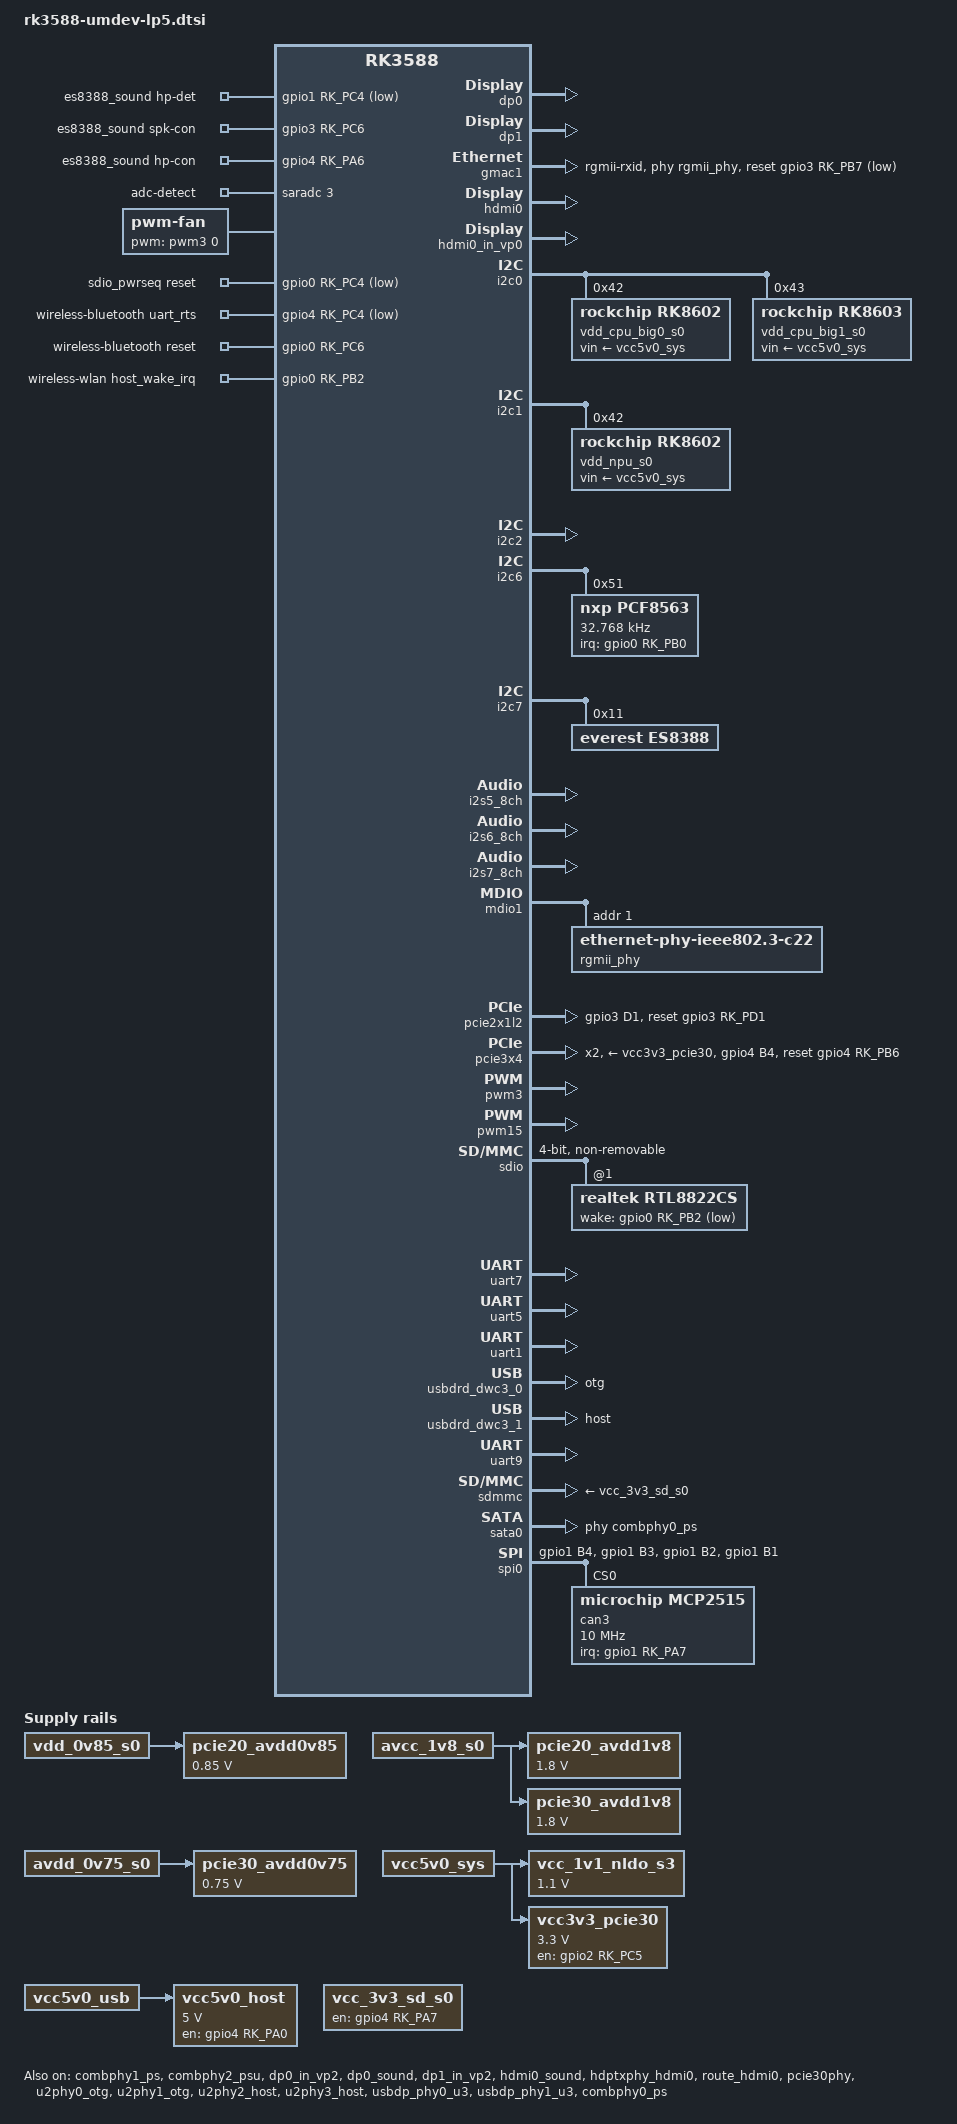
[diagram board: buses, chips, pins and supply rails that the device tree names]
// SPDX-License-Identifier: (GPL-2.0+ OR MIT)
/*
 * Copyright (c) 2021 Rockchip Electronics Co., Ltd.
 *
 */

#include "dt-bindings/usb/pd.h"
#include "dt-bindings/phy/phy.h"
#include "rk3588.dtsi"
#include "rk3588-evb.dtsi"
#include "rk3588-rk806-single-umlhp.dtsi"

/ {
	es8388_sound: es8388-sound {
		status = "okay";
		compatible = "rockchip,multicodecs-card";
		rockchip,card-name = "rockchip-es8388";
		hp-det-gpio = <&gpio1 RK_PC4 GPIO_ACTIVE_LOW>;  // GPIO1_D5_d HP_DET_L
		io-channels = <&saradc 3>;
		io-channel-names = "adc-detect";
		keyup-threshold-microvolt = <1800000>;
		poll-interval = <250>;
		spk-con-gpio = <&gpio3 RK_PC6 GPIO_ACTIVE_HIGH>;  // GPIO1_D3_d SPK_CTL_H
		hp-con-gpio = <&gpio4 RK_PA6 GPIO_ACTIVE_HIGH>;   // GPIO1_D2_d PHONE_CTL
		rockchip,format = "i2s";
		rockchip,mclk-fs = <256>;
		rockchip,cpu = <&i2s0_8ch>;
		rockchip,codec = <&es8388>;
		rockchip,audio-routing =
			"Headphone", "LOUT1",
			"Headphone", "ROUT1",
			"Speaker", "LOUT2",
			"Speaker", "ROUT2",
			"Headphone", "Headphone Power",
			"Headphone", "Headphone Power",
			"Speaker", "Speaker Power",
			"Speaker", "Speaker Power",
			"LINPUT1", "Headset Mic",
			"RINPUT1", "Headset Mic";
		//	"LINPUT2", "Headset Mic",
		//	"RINPUT2", "Headset Mic";
		pinctrl-names = "default";
		pinctrl-0 = <&hp_det>;
		play-pause-key {
			label = "playpause";
			linux,code = <KEY_PLAYPAUSE>;
			press-threshold-microvolt = <2000>;
		};
	};

	fan: pwm-fan {
		compatible = "pwm-fan";
		#cooling-cells = <2>;
		pwms = <&pwm3 0 50000 0>;
		cooling-levels = <0 50 100 150 200 255>;
		rockchip,temp-trips = <
			50000	1
			55000	2
			60000	3
			65000	4
			70000	5
		>;
	};

	pcie20_avdd0v85: pcie20-avdd0v85 {
		compatible = "regulator-fixed";
		regulator-name = "pcie20_avdd0v85";
		regulator-boot-on;
		regulator-always-on;
		regulator-min-microvolt = <850000>;
		regulator-max-microvolt = <850000>;
		vin-supply = <&vdd_0v85_s0>;
	};

	pcie20_avdd1v8: pcie20-avdd1v8 {
		compatible = "regulator-fixed";
		regulator-name = "pcie20_avdd1v8";
		regulator-boot-on;
		regulator-always-on;
		regulator-min-microvolt = <1800000>;
		regulator-max-microvolt = <1800000>;
		vin-supply = <&avcc_1v8_s0>;
	};

	pcie30_avdd0v75: pcie30-avdd0v75 {
		compatible = "regulator-fixed";
		regulator-name = "pcie30_avdd0v75";
		regulator-boot-on;
		regulator-always-on;
		regulator-min-microvolt = <750000>;
		regulator-max-microvolt = <750000>;
		vin-supply = <&avdd_0v75_s0>;
	};

	pcie30_avdd1v8: pcie30-avdd1v8 {
		compatible = "regulator-fixed";
		regulator-name = "pcie30_avdd1v8";
		regulator-boot-on;
		regulator-always-on;
		regulator-min-microvolt = <1800000>;
		regulator-max-microvolt = <1800000>;
		vin-supply = <&avcc_1v8_s0>;
	};

	/* SDIO接口Wi-Fi专用配置：WIFI_REG_ON: Wi-Fi的电源使能PIN脚 */
	sdio_pwrseq: sdio-pwrseq {
		compatible = "mmc-pwrseq-simple";
		pinctrl-names = "default";
		pinctrl-0 = <&wifi_enable_h>;
		/* 特别注意：WIFI_REG_ON GPIO_ACTIVE 配置跟使能状态恰好是相反的，
		 * 高有效为LOW，低有效则为HIGH
	 	 * 切记：这个配置跟下面的WIFI,poweren_gpio是互斥的，不能同时配置！！！
		 */
		reset-gpios = <&gpio0 RK_PC4 GPIO_ACTIVE_LOW>;
	};

	vcc_1v1_nldo_s3: vcc-1v1-nldo-s3 {
		compatible = "regulator-fixed";
		regulator-name = "vcc_1v1_nldo_s3";
		regulator-always-on;
		regulator-boot-on;
		regulator-min-microvolt = <1100000>;
		regulator-max-microvolt = <1100000>;
		vin-supply = <&vcc5v0_sys>;
	};

	vcc_3v3_sd_s0: vcc-3v3-sd-s0-regulator {
		compatible = "regulator-fixed";
		gpio = <&gpio4 RK_PA7 GPIO_ACTIVE_HIGH>;
		pinctrl-names = "default";
		pinctrl-0 = <&sd_s0_pwr>;
		regulator-name = "vcc_3v3_sd_s0";
		enable-active-high;
	};

	vcc3v3_pcie30: vcc3v3-pcie30 {
		compatible = "regulator-fixed";
		regulator-name = "vcc3v3_pcie30";
		regulator-min-microvolt = <3300000>;
		regulator-max-microvolt = <3300000>;
		enable-active-high;
		gpios = <&gpio2 RK_PC5 GPIO_ACTIVE_HIGH>;
		startup-delay-us = <5000>;
		vin-supply = <&vcc5v0_sys>;
	};

	vcc5v0_host: vcc5v0-host {
		compatible = "regulator-fixed";
		regulator-name = "vcc5v0_host";
		regulator-boot-on;
		regulator-always-on;
		regulator-min-microvolt = <5000000>;
		regulator-max-microvolt = <5000000>;
		enable-active-high;
		gpio = <&gpio4 RK_PA0 GPIO_ACTIVE_HIGH>;
		vin-supply = <&vcc5v0_usb>;
		pinctrl-names = "default";
		pinctrl-0 = <&vcc5v0_host_en>;
	};

	/* 蓝牙节点 */
	/* 注意下面关于UART的配置：uart4_xfer/uart4_rts/uart4_ctsn
	 * 每个平台的名字可能不一样，要在对应芯片平台的dts/dtsi里面找下对
	 * 应的uart写法，比如uart4_ctsn有些平台的名字为uart4_cts.
	 */
	wireless-bluetooth {
		compatible = "bluetooth-platdata";

		/* 这里要配置对应主控UART的RTS脚 */
		uart_rts_gpios = <&gpio4 RK_PC4 GPIO_ACTIVE_LOW>;	//GPIO3_A4_d UART8_RTSn_M1_BT
		pinctrl-names = "default", "rts_gpio";
		pinctrl-0 = <&uart9m0_rtsn>;
		pinctrl-1 = <&uart9m0_rtsn_gpio>;
		
		/* BT_REG_ON 蓝牙电源的开关 */
		BT,reset_gpio = <&gpio0 RK_PC6 GPIO_ACTIVE_HIGH>;	//GPIO3_A6_d BT_REG_ON_H

		/* Linux平台：下面两个配置无需配置 */
		// BT,wake_gpio     = <&gpio0 RK_PC5 GPIO_ACTIVE_HIGH>;	//GPIO3_A1_u HOST_WAKE_BT_H  有可能跟下面IO要对调
		// BT,wake_host_irq = <&gpio0 RK_PA0 GPIO_ACTIVE_HIGH>;	//GPIO3_A0_u BT_WAKE_HOST_H
		status = "okay";
	};

	/* Wi-Fi节点 */
	wireless-wlan {
		compatible = "wlan-platdata";
		rockchip,grf = <&sys_grf>;
		/* 注意：如果排查发现Wi-Fi模块没有32.768K波形，且硬件上是有
		 * RK PMU供给的，则打开下面的clock属性，按照实际使用的PMU型号填写，
		 * 否在SDIO/Wi-Fi无法使用.
		 * clocks = <&rk809 1>; //如果使用RK809，  只能配置一个
		 * clocks = <&hym8563>; //如果使用hym8563，只能配置一个
		 * clock-names = "ext_clock";
		*/
		clocks = <&pcf8563>;
		clock-names = "ext_clock";

		/* 按实际名字填写 */	
		wifi_chip_type = "rtl8822cs";

		/* WIFI_WAKE_HOST: Wi-Fi中断通知主控的PIN脚。
		* 特别注意：确认下这个Wi-Fi pin脚跟主控的pin的
		* 硬件连接关系，直连的话就是GPIO_ACTIVE_HIGH;
		* 如果中间加了一个反向管就要改成低电平GPIO_ACTIVE_LOW触发
		*/
		// pinctrl-names = "default";
		// pinctrl-0 = <&wifi_host_wake_irq>;
		WIFI,host_wake_irq = <&gpio0 RK_PB2 GPIO_ACTIVE_HIGH>;		//GPIO3_A7_u WIFI_WAKE_HOST_H
		
		/* 注意USB/PCIE接口的Wi-Fi需要添加此配置，对应Wi-Fi使能脚,
		 * 且不需要配置sdio_pwrseq/sdio等节点！
		 * SDIO接口WiFi不需要添加这个配置！除非有动态加卸载KO的需求参考11.8章节；
		 */
		status = "okay";
	};

	/* SPI CAN 时钟源定义 */
	mcp2515_CLK: mcp2515-CLK {
	    compatible = "fixed-clock";
	    #clock-cells = <0>;
	    clock-frequency = <8000000>;
	};
};

&combphy1_ps {
	status = "okay";
};

&combphy2_psu {
	status = "okay";
};

&dp0 {
	status = "okay";
};

&dp0_in_vp2 {
	status = "okay";
};

&dp0_sound{
	status = "okay";
};

&dp1 {
	pinctrl-names = "default";
	pinctrl-0 = <&dp1m0_pins>;
	status = "okay";
};

&dp1_in_vp2 {
	status = "okay";
};

/* gmac1: gmac1网口 */
&gmac1 {
	/* Use rgmii-rxid mode to disable rx delay inside Soc */
	phy-mode = "rgmii-rxid";
	clock_in_out = "output";

	snps,reset-gpio = <&gpio3 RK_PB7 GPIO_ACTIVE_LOW>;
	snps,reset-active-low;
	/* Reset time is 20ms, 100ms for rtl8211f */
	snps,reset-delays-us = <0 20000 100000>;

	pinctrl-names = "default";
	pinctrl-0 = <&gmac1_miim
			&gmac1_tx_bus2
			&gmac1_rx_bus2
			//&gmac1_clkinout
			&gmac1_rgmii_clk
			&gmac1_rgmii_bus>;

	tx_delay = <0x43>;
	/* rx_delay = <0x3f>; */

	phy-handle = <&rgmii_phy>;
	status = "okay";
};

// 打开 hdmi0 功能
&hdmi0 {
    status = "okay";
    enable-gpios = <&gpio4 RK_PA1 GPIO_ACTIVE_HIGH>;
    // ddc-i2c-bus = <&hdmi>; // ！！！注释或删除这行！！！
    pinctrl-names = "default";
    pinctrl-0 = <&hdmim0_tx0_cec &hdmim0_tx0_hpd &hdmim0_tx0_scl &hdmim0_tx0_sda>;
};

// 把 hdmi0 的显示接口连接在 Port0
&hdmi0_in_vp0 {
	status = "okay";
};

// 打开 hdmi0 音频输出
&hdmi0_sound {
	status = "okay";
};

// 打开 hdmi0 的硬件 phy
&hdptxphy_hdmi0 {
	status = "okay";
};

// 打开 hdmi0 的开机 logo
&route_hdmi0 {
	status = "okay";
};

/* I2C0_M2:CPU */
&i2c0 {
	status = "okay";
	pinctrl-names = "default";
	pinctrl-0 = <&i2c0m2_xfer>;

	vdd_cpu_big0_s0: vdd_cpu_big0_mem_s0: rk8602@42 {
		compatible = "rockchip,rk8602";
		reg = <0x42>;
		vin-supply = <&vcc5v0_sys>;
		regulator-compatible = "rk860x-reg";
		regulator-name = "vdd_cpu_big0_s0";
		regulator-min-microvolt = <550000>;
		regulator-max-microvolt = <1050000>;
		regulator-ramp-delay = <2300>;
		rockchip,suspend-voltage-selector = <1>;
		regulator-boot-on;
		regulator-always-on;
		regulator-state-mem {
			regulator-off-in-suspend;
		};
	};

	vdd_cpu_big1_s0: vdd_cpu_big1_mem_s0: rk8603@43 {
		compatible = "rockchip,rk8603";
		reg = <0x43>;
		vin-supply = <&vcc5v0_sys>;
		regulator-compatible = "rk860x-reg";
		regulator-name = "vdd_cpu_big1_s0";
		regulator-min-microvolt = <550000>;
		regulator-max-microvolt = <1050000>;
		regulator-ramp-delay = <2300>;
		rockchip,suspend-voltage-selector = <1>;
		regulator-boot-on;
		regulator-always-on;
		regulator-state-mem {
			regulator-off-in-suspend;
		};
	};
};

&i2c1 {
	status = "okay";
	pinctrl-names = "default";
	pinctrl-0 = <&i2c1m2_xfer>;
	/* NPU_RK860 */
	vdd_npu_s0: vdd_npu_mem_s0: rk8602@42 {
		compatible = "rockchip,rk8602";
		reg = <0x42>;
		vin-supply = <&vcc5v0_sys>;
		regulator-compatible = "rk860x-reg";
		regulator-name = "vdd_npu_s0";
		regulator-min-microvolt = <550000>;
		regulator-max-microvolt = <950000>;
		regulator-ramp-delay = <2300>;
		rockchip,suspend-voltage-selector = <1>;
		regulator-boot-on;
		regulator-always-on;
		regulator-state-mem {
			regulator-off-in-suspend;
		};
	};
};

&i2c2 {
	status = "okay";
	pinctrl-names = "default";
	pinctrl-0 = <&i2c2m0_xfer>;
};

/* I2C6_M0: RTC */
&i2c6 {
	status = "okay";
	pinctrl-names = "default";
	pinctrl-0 = <&i2c6m0_xfer>;
	
	/* RTC_PCF8563 */
	pcf8563: pcf8563@51 {
		compatible = "nxp,pcf8563";
		reg = <0x51>;
		#clock-cells = <0>;
		clock-frequency = <32768>;
		clock-output-names = "pcf8563";
		pinctrl-names = "default";
		pinctrl-0 = <&pcf8563_int>;
		interrupt-parent = <&gpio0>;
		interrupts = <RK_PB0 IRQ_TYPE_LEVEL_LOW>;  /* GPIO0_B0 RTC_INT_L */
		wakeup-source;
	};
};

/* I2C7_M0: ES8388 */
&i2c7 {
	status = "okay";
	es8388: es8388@11 {
		status = "okay";
		#sound-dai-cells = <0>;
		compatible = "everest,es8388", "everest,es8323";
		reg = <0x11>;
		clocks = <&mclkout_i2s0>;
		clock-names = "mclk";
		assigned-clocks = <&mclkout_i2s0>;
		assigned-clock-rates = <12288000>;
		pinctrl-names = "default";
		pinctrl-0 = <&i2s0_mclk>;
	};
};

&i2s1_8ch {
	status = "disabled";
	#sound-dai-cells = <0>;
	rockchip,clk-trcm = <2>;
	pinctrl-names = "default";
	pinctrl-0 = <&i2s1m0_lrck
			&i2s1m0_sclk
			&i2s1m0_sdi1
			&i2s1m0_sdi2
			&i2s1m0_sdi3>;
};

&i2s5_8ch {
	status = "okay";
};

&i2s6_8ch {
	status = "okay";
};

&i2s7_8ch {
	status = "okay";
};

&mdio1 {
	rgmii_phy: phy@1 {
		compatible = "ethernet-phy-ieee802.3-c22";
		reg = <0x1>;
	};
};

&pcie2x1l2 {
	reset-gpios = <&gpio3 RK_PD1 GPIO_ACTIVE_HIGH>;
	pinctrl-names = "default";
	pinctrl-0 = <&rtl8111_isolate>;
	status = "okay";
};

&pcie30phy {
	rockchip,pcie30-phymode = <PHY_MODE_PCIE_NANBNB>; // 改为 NANBNB 模式
	status = "okay";
};

&pcie3x4 {
	num-lanes = <2>;	
	reset-gpios = <&gpio4 RK_PB6 GPIO_ACTIVE_HIGH>; // 请再次确认极性和引脚
	vpcie3v3-supply = <&vcc3v3_pcie30>;
	pinctrl-names = "default";  // 先注释掉
	pinctrl-0 = <&pcie30x4_clkreqn_m1>; // 先注释掉
	status = "okay";
};

&pinctrl {
	headphone {
		hp_det: hp-det {
			rockchip,pins = <1 RK_PC4 RK_FUNC_GPIO &pcfg_pull_none>;
		};
	};

	pcf8563 {
		pcf8563_int: pcf8563-int {
			rockchip,pins = <0 RK_PB0 RK_FUNC_GPIO &pcfg_pull_up>;
		};
	};
	
	rtl8111 {
		rtl8111_isolate: rtl8111-isolate {
			rockchip,pins = <3 RK_PD1 RK_FUNC_GPIO &pcfg_pull_up>;
		};
	};
	
	minipcie {
		minipcie_isolate: minipcie-isolate {
			rockchip,pins = <4 RK_PA5 RK_FUNC_GPIO &pcfg_pull_up>;
		};
	};	

	/* SDIO接口Wi-Fi专用配置：WIFI_REG_ON脚的pinctrl的配置 */
	sdio-pwrseq {
		wifi_enable_h: wifi-enable-h {
			/* 对应上面的WIFI_REG_ON，关掉上下拉，防止不能拉高或拉低 */
			rockchip,pins = <0 RK_PC4 RK_FUNC_GPIO &pcfg_pull_none>;
		};
	};

	/* uart9_rts_gpio */
	wireless-bluetooth {
		uart9m0_rtsn_gpio: uart9m0-rtsn-gpio {
			rockchip,pins = <4 RK_PC4 RK_FUNC_GPIO &pcfg_pull_none>;
		};
	};

	/* WIFI_WAKE_HOST脚的pinctrl的配置 */
	wireless-wlan {
		/omit-if-no-ref/
		wifi_wake_host: wifi-wake-host {
		/* 注意一般Wi-Fi的wake host pin都是高电平触发，
		 * 所以默认这里要配置为下拉; 如果客户的硬件设计
		 * 是反向的则要改为上拉，总之要初始化为与触发电平
		 * 相反的状态
		 */
		rockchip,pins = <0 RK_PB2 RK_FUNC_GPIO &pcfg_pull_down>;
		};
	};

	pcie30x4 {
		pcie30x4_clkreqn_m1: pcie30x4-clkreqn-m1 {
			rockchip,pins = <4 RK_PB4 RK_FUNC_GPIO &pcfg_pull_down>;
		};
	};

	sdmmc {
		sd_s0_pwr: sd-s0-pwr {
			rockchip,pins = <4 RK_PA7 RK_FUNC_GPIO &pcfg_pull_up>;
		};
	};

	usb {
		vcc5v0_host_en: vcc5v0-host-en {
			rockchip,pins = <4 RK_PA0 RK_FUNC_GPIO &pcfg_pull_none>;
		};
	};

    /* 添加SPI0引脚配置（如果不存在的话） */
	spi0 {
		spi0m2_pins: spi0m2-pins {
			rockchip,pins =
				/* SCK, MOSI, MISO */
				<1 RK_PB3 2 &pcfg_pull_up>,   /* spi0m2_clk */
				<1 RK_PB2 2 &pcfg_pull_up>,   /* spi0m2_mosi */
				<1 RK_PB1 2 &pcfg_pull_up>;  /* spi0m2_miso */
		};
 
		spi0m2_cs0: spi0m2-cs0 {
			rockchip,pins =
				<1 RK_PB4 2 &pcfg_pull_up>;   /* spi0m2_cs0 */
		};
	};
    
    /* 添加CAN中断引脚配置 */
	can {
		mcp2515_int: mcp2515-int {
			rockchip,pins = <1 RK_PA7 RK_FUNC_GPIO &pcfg_pull_up>;
		};
	};
};

&pwm3 {
	pinctrl-names = "default";
	pinctrl-0 = <&pwm3m1_pins>;
	status = "okay";
};

&pwm15 {
	compatible = "rockchip,remotectl-pwm";
	pinctrl-names = "default";
	pinctrl-0 = <&pwm15m1_pins>;
	remote_pwm_id = <15>;
	handle_cpu_id = <1>;
	remote_support_psci = <0>;
	status = "okay";
	
	ir_key1 {
		rockchip,usercode = <0x4040>;
		rockchip,key_table =
			<0xf2	KEY_REPLY>,
			<0xba	KEY_BACK>,
			<0xf4	KEY_UP>,
			<0xf1	KEY_DOWN>,
			<0xef	KEY_LEFT>,
			<0xee	KEY_RIGHT>,
			<0xbd	KEY_HOME>,
			<0xea	KEY_VOLUMEUP>,
			<0xe3	KEY_VOLUMEDOWN>,
			<0xe2	KEY_SEARCH>,
			<0xb2	KEY_POWER>,
			<0xbc	KEY_MUTE>,
			<0xec	KEY_MENU>,
			<0xbf	0x190>,
			<0xe0	0x191>,
			<0xe1	0x192>,
			<0xe9	183>,
			<0xe6	248>,
			<0xe8	185>,
			<0xe7	186>,
			<0xf0	388>,
			<0xbe	0x175>;
	};
};

/* SDIO接口Wi-Fi专用配置：SDIO接口节点 */
&sdio {
	status = "okay";
	max-frequency = <150000000>;	/* sdio接口的最大频率,可调整 */
 //	no-sd;
 //	no-mmc;
 //	disable-wp;
    #address-cells = <1>;
    #size-cells = <0>;
    bus-width = <4>;	/* 4线模式，可调整1线模式 */
    cap-sd-highspeed;
    cap-sdio-irq;
    keep-power-in-suspend;
    non-removable;
    mmc-pwrseq = <&sdio_pwrseq>;
    pinctrl-names = "default";
    pinctrl-0 = <&sdiom0_pins>;

    rtl8822cs: wifi@1 {
        compatible = "realtek,rtl8822cs";
        reg = <1>;
     // interrupt-parent = <&gpio0>;
     // interrupts = <RK_PB2 IRQ_TYPE_LEVEL_LOW>; /* 示例 GPIO，需核对原理图 */
        pinctrl-names = "default";
        pinctrl-0 = <&wifi_wake_host>;
        wake-gpios = <&gpio0 RK_PB2 GPIO_ACTIVE_LOW>; /* 唤醒 GPIO */
    };
};

&uart7 {
	status = "okay";
	pinctrl-names = "default";
	pinctrl-0 = <&uart7m1_xfer>;
};

&uart5 {
	status = "okay";
	pinctrl-names = "default";
	pinctrl-0 = <&uart5m1_xfer>;
};

&uart1 {
	status = "okay";
	pinctrl-names = "default";
	pinctrl-0 = <&uart1m1_xfer>;
};

&uart0 {
	status = "disabled";
	pinctrl-names = "default";
	pinctrl-0 = <&uart0m0_xfer>;
};

/* 1. 首先查看 u2phy0 的配置 - 保持原样，只修改速度 */
&u2phy0_otg {
	status = "okay";
	/* 添加 vbus 电源 */
	vbus-supply = <&vcc5v0_host>;
	/* 修复模式配置 */
	rockchip,usb-mode = "otg";
};

/* 2. u2phy1_otg - 确保有电源供应 */
&u2phy1_otg {
	/* 取消注释，添加电源 */
	phy-supply = <&vcc5v0_host>;
	/* 添加模式配置 */
	rockchip,usb-mode = "host";
	status = "okay";
};

/* 3. u2phy2_host - 确保配置完整 */
&u2phy2_host {
	phy-supply = <&vcc5v0_host>;
	/* 添加模式配置 */
	rockchip,usb-mode = "host";
	/* 添加电源延迟确保稳定 */
	phy-supply-delay-us = <20000>;
	status = "okay";
};

/* 4. u2phy3_host - 这是有问题的 PHY，修复配置 */
&u2phy3_host {
    status = "okay";
    /* 关键修复：指定正确的模式。对于主机端口，通常是 "host" */
    phy-mode = "host";
    /* 或者，如果硬件是 OTG 端口但被用作主机，尝试： */
    /* phy-mode = "otg"; */
    /* 确保电源配置正确 */
    phy-supply = <&vcc5v0_host>;
    vbus-supply = <&vcc5v0_host>;
};

/* 5. 修复 USB3.0 PHY 速度限制 */
&usbdp_phy0_u3 {
	status = "okay";
	/* 修复：改为 USB3.0 速度 */
	maximum-speed = "super-speed";
};

/* 6. 修复 USB3.0 PHY 1 配置 */
&usbdp_phy1_u3 {
	status = "okay";
	/* 修复：改为 USB3.0 速度 */
	maximum-speed = "super-speed";
};

/* 7. 修复 USB3.0 控制器 0 配置 */
&usbdrd_dwc3_0 {
	dr_mode = "otg";
	/* 修复：改为 USB3.0 速度 */
	maximum-speed = "super-speed";
	status = "okay";
	
	/* 可选优化：添加性能参数 */
	snps,usb3_lpm_capable;
	snps,dis_u2_susphy_quirk;
	snps,dis-del-phy-power-chg-quirk;
};

/* 8. 修复 USB3.0 控制器 1 配置 */
&usbdrd_dwc3_1 {
	dr_mode = "host";
	/* 修复：改为 USB3.0 速度 */
	maximum-speed = "super-speed";
	status = "okay";
	
	/* 可选优化：添加性能参数 */
	snps,usb3_lpm_capable;
	snps,dis_u2_susphy_quirk;
	snps,dis-del-phy-power-chg-quirk;
};

/* =================== USB 配置结束 =================== */

/* 打开对应的UART配置 */
&uart9 {
	pinctrl-names = "default";
	/* 这里配置对应主控UART的TX/RX/CTS PIN，不要配置RTS PIN */
	pinctrl-0 = <&uart9m0_xfer &uart9m0_ctsn>;
	status = "okay";
};

&sdmmc {
	status = "okay";
	vmmc-supply = <&vcc_3v3_sd_s0>;
};

/* 3. 启用 SATA 控制器 - 完整配置 */
// 禁用 PCIe 控制器（释放引脚给SATA用）
&pcie2x1l0 {
	status = "disabled"; // 确保此项为 disabled
};

&combphy0_ps {
	status = "okay";
	/* 核心修复：明确指定PHY为SATA工作模式 */
	// Rockchip PHY_TYPE_SATA 的值为 0x03
	mode = <0x03>;
	/* 电源配置 */
	phy-supply = <&vcc3v3_pcie30>;
	/* 必要的属性 */
	#phy-cells = <1>;
};

&sata0 {
	status = "okay";
	/* 引用配置为SATA模式的PHY */
	phys = <&combphy0_ps PHY_TYPE_SATA>;
	phy-names = "sata-phy";
	/* 配置电源，防止使用虚拟调节器 */
	sata-supply = <&vcc3v3_pcie30>;
	ahci-supply = <&vcc3v3_pcie30>;
	/* 关键：配置使能/复位GPIO (根据原理图，通常是GPIO4_A5) */
	enable-gpios = <&gpio4 RK_PA5 GPIO_ACTIVE_HIGH>;
	// 如果高电平无效，可尝试反极性：GPIO_ACTIVE_LOW
	/* 可选：调低初始链接速度以增加稳定性 */
	max-link-speed = <1>; // 1 = Gen1 (1.5 Gbps)
};

&can0 {
    status = "disabled";  /* 如果不用内置CAN0 */
};

&can1 {
    status = "disabled";  /* 如果不用内置CAN1 */
};

/* 配置 SPI 总线 */
&spi0 {
	status = "okay";
 
	/* 使用正确的pinctrl名称 */
	pinctrl-names = "default";
	pinctrl-0 = <&spi0m2_cs0 &spi0m2_pins>;
	max-frequency = <10000000>;      /* SPI时钟频率 */
    
	/* 添加MCP2515设备 */
	can3: can-controller@0 {
    	compatible = "microchip,mcp2515";
    	reg = <0>;  /* CS0 */
        
        /* 使用正确的时钟，通常是24MHz时钟 */
        clocks = <&mcp2515_CLK>;

		/* 中断配置 - 需要根据实际连接修改 */
    	interrupt-parent = <&gpio1>;
    		interrupts = <RK_PA7 IRQ_TYPE_EDGE_FALLING>;  /* 修正语法 */
    	spi-max-frequency = <10000000>;  /* 最大10MHz，根据实际情况调整 */
    	spi-cpha = <0>;
		spi-cpol = <0>;

		/* MCP2515 特定配置 */
		oscillator-frequency = <8000000>;

		status = "okay";
    };
};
